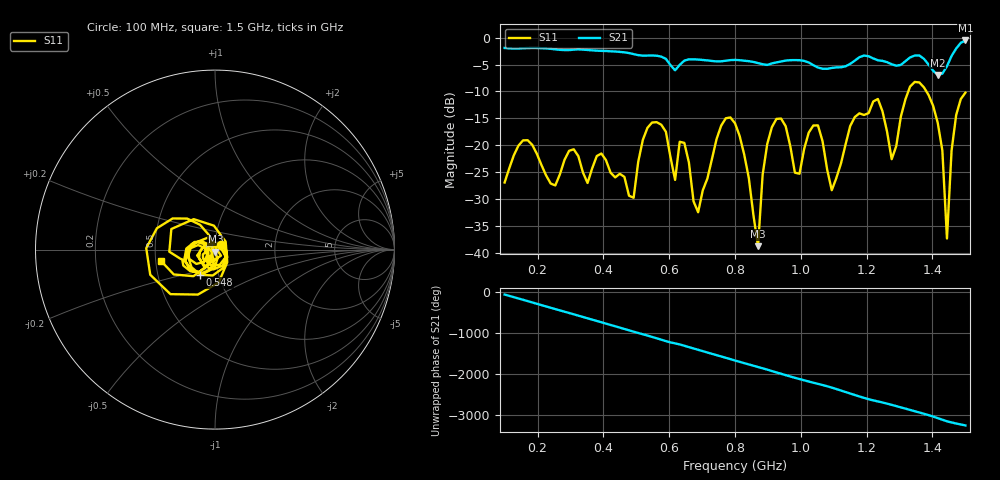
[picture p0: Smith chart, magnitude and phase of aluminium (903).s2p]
! NanoVNA-App
! Date: 2025-09-25 15:02:19
! Start: 100MHz Stop: 1,5GHz Points: 101
! S-Parameter data: F S11 S21 S12 S22
# Hz S RI R 50
!  Frequency  S11_Real  S11_Imag  S21_Real  S21_Imag  S12_Real  S12_Imag  S22_Real  S22_Imag
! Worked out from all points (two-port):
!   101 points, 100 MHz to 1.5 GHz, reference 50 ohm
!   highest |S21| = -0.52 dB at 1.5 GHz (marker M1); lowest = -7.0 dB at 1.416 GHz (marker M2)
!   |S21| within 3 dB of the highest: start of sweep to 575.1 MHz; 1.457 GHz to end of sweep (the widest 2 of 4)
!   lowest |S11| = -38.8 dB at 870 MHz (marker M3), VSWR 1.02, Z = 50.2 - j1.13 ohm
!   |S11| at or under -10 dB: start of sweep to 1.327 GHz; 1.381 GHz to end of sweep
!   S12 and S22 are empty: the file has one direction only
!   S11 on the Smith chart (normalised r, x): 100 MHz: 1.07, +0.06; 548 MHz: 0.82, -0.24; 1.5 GHz: 0.53, -0.07
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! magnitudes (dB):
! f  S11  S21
! 100 MHz  -27.0  -1.9
! 156 MHz  -19.1  -2.0
! 338 MHz  -25.1  -2.2
! 492 MHz  -29.8  -3.1
! 548 MHz  -15.8  -3.3
! 576 MHz  -16.2  -3.5
! 618 MHz  -26.5  -6.1
! 646 MHz  -19.6  -4.3
! 688 MHz  -32.5  -4.1
! 800 MHz  -15.9  -4.1
! 870 MHz  -38.8  -4.7
! 912 MHz  -16.7  -4.8
! 996 MHz  -25.3  -4.2
! 1.038 GHz  -16.3  -5.1
! 1.094 GHz  -28.4  -5.6
! 1.234 GHz  -11.4  -4.2
! 1.276 GHz  -22.6  -4.9
! 1.346 GHz  -8.2  -3.3
! 1.416 GHz  -15.8  -7.0
! 1.444 GHz  -37.4  -5.3
! 1.458 GHz  -21.0  -3.4
! 1.5 GHz  -10.2  -0.5
